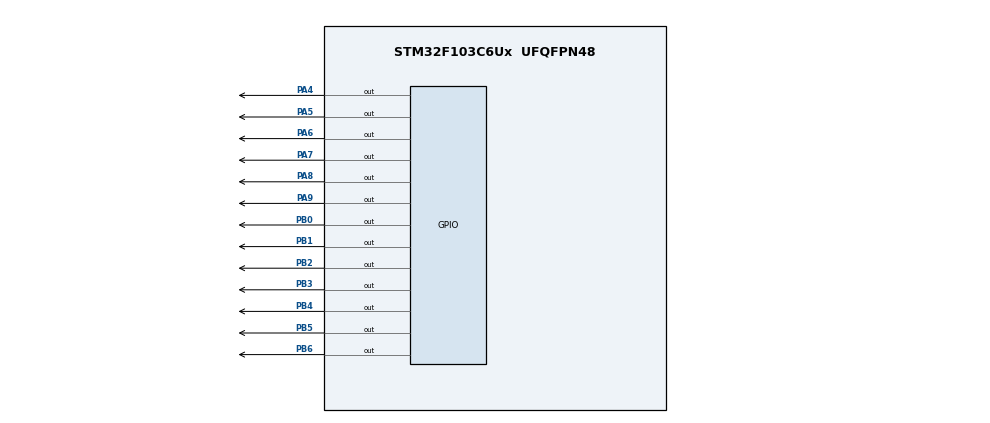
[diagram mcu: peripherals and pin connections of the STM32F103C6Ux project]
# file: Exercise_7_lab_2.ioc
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Mcu.Family=STM32F1
Mcu.Name=STM32F103C6Ux
Mcu.Package=UFQFPN48
NVIC.PriorityGroup=NVIC_PRIORITYGROUP_4
NVIC.TIM2_IRQn=true\:0\:0\:false\:false\:true\:true\:true
PA4.Signal=GPIO_Output
PA5.Signal=GPIO_Output
PA6.Signal=GPIO_Output
PA7.Signal=GPIO_Output
PA8.Signal=GPIO_Output
PA9.Signal=GPIO_Output
PB0.Signal=GPIO_Output
PB1.Signal=GPIO_Output
PB2.Signal=GPIO_Output
PB3.Signal=GPIO_Output
PB4.Signal=GPIO_Output
PB5.Signal=GPIO_Output
PB6.Signal=GPIO_Output
ProjectManager.HeapSize=0x200
ProjectManager.StackSize=0x400
ProjectManager.TargetToolchain=STM32CubeIDE
RCC.APB1Freq_Value=8000000
RCC.APB2Freq_Value=8000000
TIM2.Period=9
TIM2.Prescaler=7999
VP_SYS_VS_ND.Mode=No_Debug
VP_TIM2_VS_ClockSourceINT.Mode=Internal
board=custom

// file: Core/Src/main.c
/* USER CODE BEGIN Header */
/**
  ******************************************************************************
  * @file           : main.c
  * @brief          : Main program body
  ******************************************************************************
  * @attention
  *
  * <h2><center>&copy; Copyright (c) 2026 STMicroelectronics.
  * All rights reserved.</center></h2>
  *
  * This software component is licensed by ST under BSD 3-Clause license,
  * the "License"; You may obtain a copy of the License at:
  *                        opensource.org/licenses/BSD-3-Clause
  *
  ******************************************************************************
  */
/* USER CODE END Header */

#include "main.h"

TIM_HandleTypeDef htim2;

/* USER CODE BEGIN PV */

const int MAX_LED = 4;

int index_led = 0;
int led_buffer[4] = {1, 2, 3, 4};
int hour = 15, minute = 53, second = 50;
const int global_delay = 100;

int delay = global_delay; //changed delay here (1) cycle_time / 10
uint8_t led_count = 0;

GPIO_TypeDef *segPorts[7] =
{
    GPIOB, GPIOB, GPIOB,
    GPIOB, GPIOB, GPIOB, GPIOB
};

uint16_t segPins[7] =
{
    GPIO_PIN_0,
    GPIO_PIN_1,
    GPIO_PIN_2,
    GPIO_PIN_3,
    GPIO_PIN_4,
    GPIO_PIN_5,
    GPIO_PIN_6
};

/* USER CODE END PV */

void SystemClock_Config(void);
static void MX_GPIO_Init(void);
static void MX_TIM2_Init(void);

/* USER CODE BEGIN PFP */

void display7SEG(GPIO_TypeDef *ports[7], uint16_t pins[7], uint8_t num);
void update7SEG(int index);

/* USER CODE END PFP */

/* USER CODE BEGIN 0 */
int timer0_counter = 0;
int timer0_flag = 0;
int TIMER_CYCLE = 10;
void setTimer0(int duration ){
	timer0_counter = duration / TIMER_CYCLE ;
	timer0_flag = 0;
}
void timer_run(){
	if( timer0_counter > 0){
		timer0_counter--;
		if( timer0_counter == 0) timer0_flag = 1;
	}
}

void display7SEG(GPIO_TypeDef *ports[7], uint16_t pins[7], uint8_t num)
{
    uint8_t seg[10][7] =
    {
        {0,0,0,0,0,0,1}, // 0
        {1,0,0,1,1,1,1}, // 1
        {0,0,1,0,0,1,0}, // 2
        {0,0,0,0,1,1,0}, // 3
        {1,0,0,1,1,0,0}, // 4
        {0,1,0,0,1,0,0}, // 5
        {0,1,0,0,0,0,0}, // 6
        {0,0,0,1,1,1,1}, // 7
        {0,0,0,0,0,0,0}, // 8
        {0,0,0,0,1,0,0}  // 9
    };

    if (num > 9)
        return;

    for (int i = 0; i < 7; i++)
    {
        HAL_GPIO_WritePin(ports[i], pins[i], seg[num][i]);
    }
}

void update7SEG(int index)
{
    /* Turn all displays off */
    HAL_GPIO_WritePin(GPIOA,
                      GPIO_PIN_6 | GPIO_PIN_7 |
                      GPIO_PIN_8 | GPIO_PIN_9,
                      GPIO_PIN_SET);

    switch (index)
    {
        case 0:
            display7SEG(segPorts, segPins, led_buffer[0]);
            HAL_GPIO_WritePin(GPIOA, GPIO_PIN_6, GPIO_PIN_RESET);
            break;

        case 1:
            display7SEG(segPorts, segPins, led_buffer[1]);
            HAL_GPIO_WritePin(GPIOA, GPIO_PIN_7, GPIO_PIN_RESET);
            break;

        case 2:
            display7SEG(segPorts, segPins, led_buffer[2]);
            HAL_GPIO_WritePin(GPIOA, GPIO_PIN_8, GPIO_PIN_RESET);
            break;

        case 3:
            display7SEG(segPorts, segPins, led_buffer[3]);
            HAL_GPIO_WritePin(GPIOA, GPIO_PIN_9, GPIO_PIN_RESET);
            break;

        default:
            break;
    }
}
void updateClockBuffer(void) {
    led_buffer[0] = hour / 10;
    led_buffer[1] = hour % 10;
    led_buffer[2] = minute / 10;
    led_buffer[3] = minute % 10;
}

/* USER CODE END 0 */

int main(void)
{

    HAL_Init();

    SystemClock_Config();

    MX_GPIO_Init();
    MX_TIM2_Init();

    /* USER CODE BEGIN 2 */

    /* EN pins are active-low */
    HAL_GPIO_WritePin(GPIOA,
                      GPIO_PIN_6 | GPIO_PIN_7 |
                      GPIO_PIN_8 | GPIO_PIN_9,
                      GPIO_PIN_SET);

    /* Middle LEDs off */
    HAL_GPIO_WritePin(GPIOA, GPIO_PIN_4, GPIO_PIN_RESET);
    updateClockBuffer();
    HAL_TIM_Base_Start_IT(&htim2);

    /* USER CODE END 2 */

    /* Infinite loop */
    /* USER CODE BEGIN WHILE */
    setTimer0(1000);
    while (1) {
        if (timer0_flag == 1) {
            timer0_flag = 0;
            second++;
            if (second >= 60) {
                second = 0;
                minute++;
            }
            if (minute >= 60) {
                minute = 0;
                hour++;
            }
            if (hour >= 24) hour = 0;
            updateClockBuffer();
            setTimer0(1000);
        }
    }
}

void SystemClock_Config(void)
{
    RCC_OscInitTypeDef RCC_OscInitStruct = {0};
    RCC_ClkInitTypeDef RCC_ClkInitStruct = {0};

    RCC_OscInitStruct.OscillatorType = RCC_OSCILLATORTYPE_HSI;
    RCC_OscInitStruct.HSIState = RCC_HSI_ON;
    RCC_OscInitStruct.HSICalibrationValue = RCC_HSICALIBRATION_DEFAULT;
    RCC_OscInitStruct.PLL.PLLState = RCC_PLL_NONE;

    if (HAL_RCC_OscConfig(&RCC_OscInitStruct) != HAL_OK)
    {
        Error_Handler();
    }

    RCC_ClkInitStruct.ClockType =
        RCC_CLOCKTYPE_HCLK |
        RCC_CLOCKTYPE_SYSCLK |
        RCC_CLOCKTYPE_PCLK1 |
        RCC_CLOCKTYPE_PCLK2;

    RCC_ClkInitStruct.SYSCLKSource = RCC_SYSCLKSOURCE_HSI;
    RCC_ClkInitStruct.AHBCLKDivider = RCC_SYSCLK_DIV1;
    RCC_ClkInitStruct.APB1CLKDivider = RCC_HCLK_DIV1;
    RCC_ClkInitStruct.APB2CLKDivider = RCC_HCLK_DIV1;

    if (HAL_RCC_ClockConfig(&RCC_ClkInitStruct, FLASH_LATENCY_0) != HAL_OK)
    {
        Error_Handler();
    }
}

static void MX_TIM2_Init(void)
{

    TIM_ClockConfigTypeDef sClockSourceConfig = {0};
    TIM_MasterConfigTypeDef sMasterConfig = {0};

    htim2.Instance = TIM2;
    htim2.Init.Prescaler = 7999;
    htim2.Init.CounterMode = TIM_COUNTERMODE_UP;
    htim2.Init.Period = 9;
    htim2.Init.ClockDivision = TIM_CLOCKDIVISION_DIV1;
    htim2.Init.AutoReloadPreload = TIM_AUTORELOAD_PRELOAD_DISABLE;

    if (HAL_TIM_Base_Init(&htim2) != HAL_OK)
    {
        Error_Handler();
    }

    sClockSourceConfig.ClockSource = TIM_CLOCKSOURCE_INTERNAL;

    if (HAL_TIM_ConfigClockSource(&htim2, &sClockSourceConfig) != HAL_OK)
    {
        Error_Handler();
    }

    sMasterConfig.MasterOutputTrigger = TIM_TRGO_RESET;
    sMasterConfig.MasterSlaveMode = TIM_MASTERSLAVEMODE_DISABLE;

    if (HAL_TIMEx_MasterConfigSynchronization(&htim2, &sMasterConfig) != HAL_OK)
    {
        Error_Handler();
    }

}

static void MX_GPIO_Init(void)
{
    GPIO_InitTypeDef GPIO_InitStruct = {0};

    /* GPIO Ports Clock Enable */
    __HAL_RCC_GPIOA_CLK_ENABLE();
    __HAL_RCC_GPIOB_CLK_ENABLE();

    /* GPIOA initial state */
    HAL_GPIO_WritePin(GPIOA,
                      GPIO_PIN_4 | GPIO_PIN_5 |
                      GPIO_PIN_6 | GPIO_PIN_7 |
                      GPIO_PIN_8 | GPIO_PIN_9,
                      GPIO_PIN_RESET);

    /* GPIOB initial state */
    HAL_GPIO_WritePin(GPIOB,
                      GPIO_PIN_0 | GPIO_PIN_1 |
                      GPIO_PIN_2 | GPIO_PIN_3 |
                      GPIO_PIN_4 | GPIO_PIN_5 |
                      GPIO_PIN_6,
                      GPIO_PIN_RESET);

    /* PA4 - PA9 */
    GPIO_InitStruct.Pin =
        GPIO_PIN_4 | GPIO_PIN_5 |
        GPIO_PIN_6 | GPIO_PIN_7 |
        GPIO_PIN_8 | GPIO_PIN_9;

    GPIO_InitStruct.Mode = GPIO_MODE_OUTPUT_PP;
    GPIO_InitStruct.Pull = GPIO_NOPULL;
    GPIO_InitStruct.Speed = GPIO_SPEED_FREQ_LOW;

    HAL_GPIO_Init(GPIOA, &GPIO_InitStruct);

    /* PB0 - PB6 */
    GPIO_InitStruct.Pin =
        GPIO_PIN_0 | GPIO_PIN_1 |
        GPIO_PIN_2 | GPIO_PIN_3 |
        GPIO_PIN_4 | GPIO_PIN_5 |
        GPIO_PIN_6;

    GPIO_InitStruct.Mode = GPIO_MODE_OUTPUT_PP;
    GPIO_InitStruct.Pull = GPIO_NOPULL;
    GPIO_InitStruct.Speed = GPIO_SPEED_FREQ_LOW;

    HAL_GPIO_Init(GPIOB, &GPIO_InitStruct);
}

/* USER CODE BEGIN 4 */

void HAL_TIM_PeriodElapsedCallback(TIM_HandleTypeDef *htim) {
	timer_run();
    if (htim->Instance == TIM2) {
        delay--;

        if (delay <= 0) {
            delay = global_delay; //changed delay here (2)
            /* Update 7-segment */
            led_count++;
            update7SEG(index_led++);
            if (index_led >= MAX_LED) index_led = 0;
            /* Blink LEDs every 1 second, from >= 2 to >= 1 */
            if (led_count >= 1) {
                led_count = 0;
                HAL_GPIO_TogglePin(GPIOA, GPIO_PIN_4);
            }
        }
    }
}

/* USER CODE END 4 */

void Error_Handler(void)
{
    __disable_irq();
    while (1)
    {
    }
}

/************************ (C) COPYRIGHT STMicroelectronics *****END OF FILE****/
